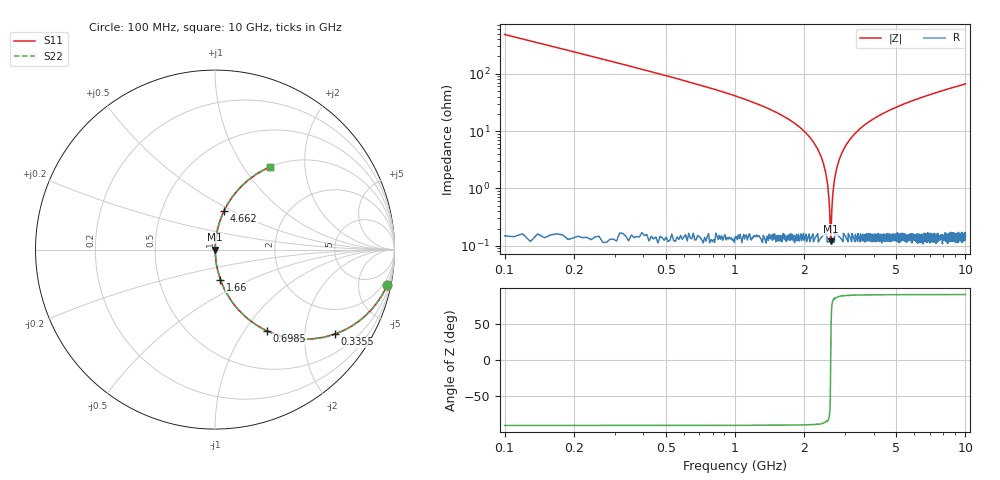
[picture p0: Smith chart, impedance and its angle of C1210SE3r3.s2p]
! AVX Thin Film Operation		Date: April 2012
! Description: Accu-P® Series, Thin Film, SMD, RF Capacitor
! Part Number: 12101J3R3ABTTR
!	100	MHz	-	10.05	GHz
!	Serial	Measurements
#	MHZ	S	MA	R	50
!	S11	S21	S12	S22
!	dB	Phase	dB	Phase	dB	Phase	dB	Phase
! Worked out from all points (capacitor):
!   1010 points, 100 MHz to 10 GHz, reference 50 ohm
!   read as one part in series: C = 3.3 pF near 149.1 MHz
!   lowest |Z| = 120 mohm at 2.602 GHz (marker M1)
!   series resonance near 2.603 GHz, so ESL is about 1.1 nH
!   S11 on the Smith chart (normalised r, x): 100 MHz: 1.01, -9.63; 335.5 MHz: 1.00, -2.83; 698.5 MHz: 1.00, -1.28; 1.66 GHz: 1.00, -0.35; 4.662 GHz: 1.00, +0.46; 10 GHz: 1.00, +1.33
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100  0.979 -11.7  0.203 78.3  0.203 78.3  0.979 -11.7
335.481  0.816 -35.3  0.577 54.7  0.577 54.7  0.816 -35.3
698.513  0.539 -57.3  0.841 32.6  0.841 32.6  0.539 -57.3
1090.981  0.342 -69.8  0.938 20.0  0.938 20.0  0.342 -69.8
1660.059  0.17 -79.8  0.984 9.8  0.984 9.8  0.17 -79.8
1758.176  0.147 -81.0  0.988 8.5  0.988 8.5  0.147 -81.0
2111.397  0.078 -84.5  0.996 4.5  0.996 4.5  0.078 -84.5
2356.69  0.037 -85.7  0.998 2.1  0.998 2.1  0.037 -85.7
2484.242  0.017 -84.4  0.998 1.0  0.998 1.0  0.017 -84.4
2572.547  0.00452 -71.7  0.999 0.2  0.999 0.2  0.00452 -71.7
2601.982  0.0014 -3.7  0.999 0.0  0.999 0.0  0.0014 -3.7
2641.229  0.00563 75.3  0.999 -0.3  0.999 -0.3  0.00563 75.3
2680.476  0.011 82.1  0.999 -0.6  0.999 -0.6  0.011 82.1
2719.722  0.016 84.2  0.998 -0.9  0.998 -0.9  0.016 84.2
2837.463  0.032 85.7  0.998 -1.8  0.998 -1.8  0.032 85.7
3072.944  0.062 85.2  0.997 -3.5  0.997 -3.5  0.062 85.2
3406.541  0.1 83.4  0.994 -5.8  0.994 -5.8  0.1 83.4
4662.438  0.222 76.8  0.974 -12.9  0.974 -12.9  0.222 76.8
5054.906  0.255 74.9  0.965 -14.8  0.965 -14.8  0.255 74.9
6703.271  0.375 67.8  0.926 -22.0  0.926 -22.0  0.375 67.8
8351.635  0.473 61.7  0.88 -28.2  0.88 -28.2  0.473 61.7
10000  0.552 56.3  0.832 -33.5  0.832 -33.5  0.552 56.3
